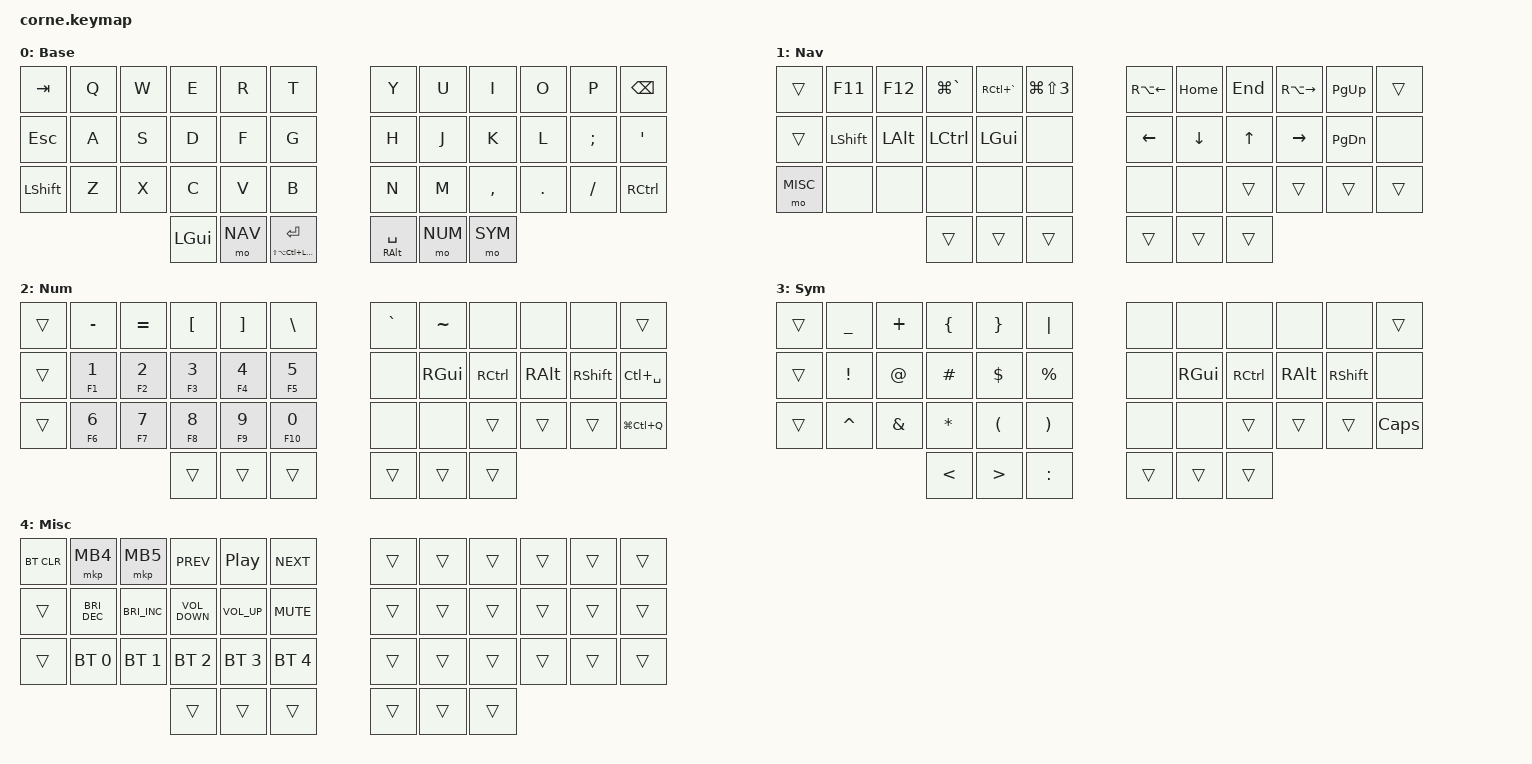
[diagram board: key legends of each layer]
/*
 * Copyright (c) 2020 The ZMK Contributors
 *
 * SPDX-License-Identifier: MIT
 */

#include <behaviors.dtsi>
#include <dt-bindings/zmk/bt.h>
#include <dt-bindings/zmk/keys.h>
#include <dt-bindings/zmk/pointing.h>

#define BASE 0
#define NAV  1
#define NUM  2
#define SYM  3
#define MISC 4

/ {
    behaviors {
        mt_tap: mt_tap {
            compatible = "zmk,behavior-hold-tap";
            label = "MT_TAP";
            bindings = <&kp>, <&kp>;

            #binding-cells = <2>;
            flavor = "tap-preferred";
            tapping-term-ms = <300>;
        };

        mt_bal: mt_bal {
            compatible = "zmk,behavior-hold-tap";
            label = "MT_BAL";
            bindings = <&kp>, <&kp>;

            #binding-cells = <2>;
            tapping-term-ms = <250>;
            flavor = "balanced";
            // Always tap if pressed within 150 ms of the previous key (stops Space -> Alt while typing)
            require-prior-idle-ms = <150>;
            // Tap, then press again and hold within 175 ms to repeat the tap key
            quick-tap-ms = <175>;
        };
    };

    keymap {
        compatible = "zmk,keymap";

        // Miryoku-style layers: on every layer, the hand that holds the layer key also
        // holds plain modifiers, and the other hand presses the targets.

        default_layer {
            // ----------------------------------------------------------------------------------------
            // |  TAB  |  Q   |  W   |  E   |  R   |  T  |   |  Y  |  U   |  I   |  O   |  P   | BKSP |
            // |  ESC  |  A   |  S   |  D   |  F   |  G  |   |  H  |  J   |  K   |  L   |  ;   |  '   |
            // | SHFT  |  Z   |  X   |  C   |  V   |  B  |   |  N  |  M   |  ,   |  .   |  /   | CTRL |
            //                       | CMD  | NAV  |ENT/HYP|  |SPC/ALT| NUM | SYM  |

            display-name = "Base";
            bindings = <
&kp TAB                  &kp Q            &kp W           &kp E           &kp R            &kp T                                 &kp Y                    &kp U            &kp I           &kp O           &kp P               &kp BSPC
&kp ESCAPE              &kp A            &kp S           &kp D           &kp F            &kp G                                 &kp H                    &kp J            &kp K           &kp L           &kp SEMI     &kp SQT
&kp LSHFT                &kp Z            &kp X           &kp C           &kp V            &kp B                                 &kp N                    &kp M            &kp COMMA       &kp DOT         &kp FSLH            &kp RCTRL
                                                          &kp LGUI        &mo NAV          &mt_bal LS(LA(LC(LEFT_GUI))) ENTER    &mt_bal RIGHT_ALT SPACE  &mo NUM          &mo SYM
            >;
        };

        nav_layer {
            // Held by the left thumb: mods on the left hand, navigation on the right.
            // ----------------------------------------------------------------------------------------
            // |       | F11  | F12  | CMD` | CTL` |SC-3 |   | A-← | HOME | END  | A-→  | PGUP |      |
            // |       | SHFT | ALT  | CTRL | CMD  |     |   |  ←  |  ↓   |  ↑   |  →   | PGDN |      |
            // | MISC  |      |      |      |      |     |   |     |      |      |      |      |      |

            display-name = "Nav";
            bindings = <
&trans     &kp F11    &kp F12   &kp LG(GRAVE)  &kp RC(GRAVE)  &kp LG(LS(NUMBER_3))    &kp RA(LEFT)  &kp HOME  &kp END  &kp RA(RIGHT)  &kp PAGE_UP    &trans
&trans     &kp LSHFT  &kp LALT  &kp LCTRL      &kp LGUI       &none                   &kp LEFT      &kp DOWN  &kp UP   &kp RIGHT      &kp PAGE_DOWN  &none
&mo MISC   &none      &none     &none          &none          &none                   &none         &none     &trans   &trans         &trans         &trans
                                &trans         &trans         &trans                  &trans        &trans    &trans
            >;
        };

        num_layer {
            // Held by the right thumb: numbers and unshifted symbols on the left, mods on the right.
            // Holding a number key sends the matching F-key, as before.
            // ----------------------------------------------------------------------------------------
            // |       |  -   |  =   |  [   |  ]   |  \  |   |  `  |  ~   |      |      |      |      |
            // |       | 1/F1 | 2/F2 | 3/F3 | 4/F4 |5/F5 |   |     | CMD  | CTRL | ALT  | SHFT |CTL-SP|
            // |       | 6/F6 | 7/F7 | 8/F8 | 9/F9 |0/F10|   |     |      |  ▽   |  ▽   |  ▽   |CMD-CTL-Q|

            display-name = "Num";
            bindings = <
&trans      &kp MINUS            &kp EQUAL            &kp LBKT             &kp RBKT             &kp BSLH                &kp GRAVE  &kp TILDE  &none      &none      &none      &trans
&trans      &mt_tap F1 NUMBER_1  &mt_tap F2 NUMBER_2  &mt_tap F3 NUMBER_3  &mt_tap F4 NUMBER_4  &mt_tap F5 NUMBER_5     &none  &kp RGUI   &kp RCTRL  &kp RALT   &kp RSHFT  &kp LC(SPACE)
&trans      &mt_tap F6 NUMBER_6  &mt_tap F7 NUMBER_7  &mt_tap F8 NUMBER_8  &mt_tap F9 NUMBER_9  &mt_tap F10 NUMBER_0    &none  &none      &trans     &trans     &trans     &kp LG(LC(Q))
                                                      &trans               &trans               &trans                  &trans &trans     &trans
            >;
        };

        sym_layer {
            // Held by the right outer thumb: shifted symbols on the left, mods on the right.
            // ----------------------------------------------------------------------------------------
            // |       |  _   |  +   |  {   |  }   |  |  |   |     |      |      |      |      |      |
            // |       |  !   |  @   |  #   |  $   |  %  |   |     | CMD  | CTRL | ALT  | SHFT |      |
            // |       |  ^   |  &   |  *   |  (   |  )  |   |     |      |  ▽   |  ▽   |  ▽   | CAPS |
            //                       |  <   |  >   |  :  |   |     |      |      |

            display-name = "Sym";
            bindings = <
&trans      &kp UNDER  &kp PLUS     &kp LBRC      &kp RBRC  &kp PIPE       &none   &none      &none     &none     &none      &trans
&trans      &kp EXCL   &kp AT_SIGN  &kp HASH      &kp DLLR  &kp PERCENT    &none   &kp RGUI   &kp RCTRL &kp RALT  &kp RSHFT  &none
&trans      &kp CARET  &kp AMPS     &kp ASTERISK  &kp LPAR  &kp RPAR       &none   &none      &trans    &trans    &trans     &kp CAPSLOCK
                                    &kp LT        &kp GT    &kp COLON      &trans  &trans     &trans
            >;
        };

        miscellaneous_layer {
            display-name = "Misc";
            bindings = <
&bt BT_CLR  &mkp MB4              &mkp MB5              &kp C_PREV         &kp C_PLAY_PAUSE  &kp C_NEXT      &trans  &trans  &trans  &trans  &trans  &trans
&trans      &kp C_BRIGHTNESS_DEC  &kp C_BRIGHTNESS_INC  &kp C_VOLUME_DOWN  &kp C_VOLUME_UP   &kp C_MUTE      &trans  &trans  &trans  &trans  &trans  &trans
&trans      &bt BT_SEL 0          &bt BT_SEL 1          &bt BT_SEL 2       &bt BT_SEL 3      &bt BT_SEL 4    &trans  &trans  &trans  &trans  &trans  &trans
                                                        &trans             &trans            &trans          &trans  &trans  &trans
            >;
        };
    };
};
